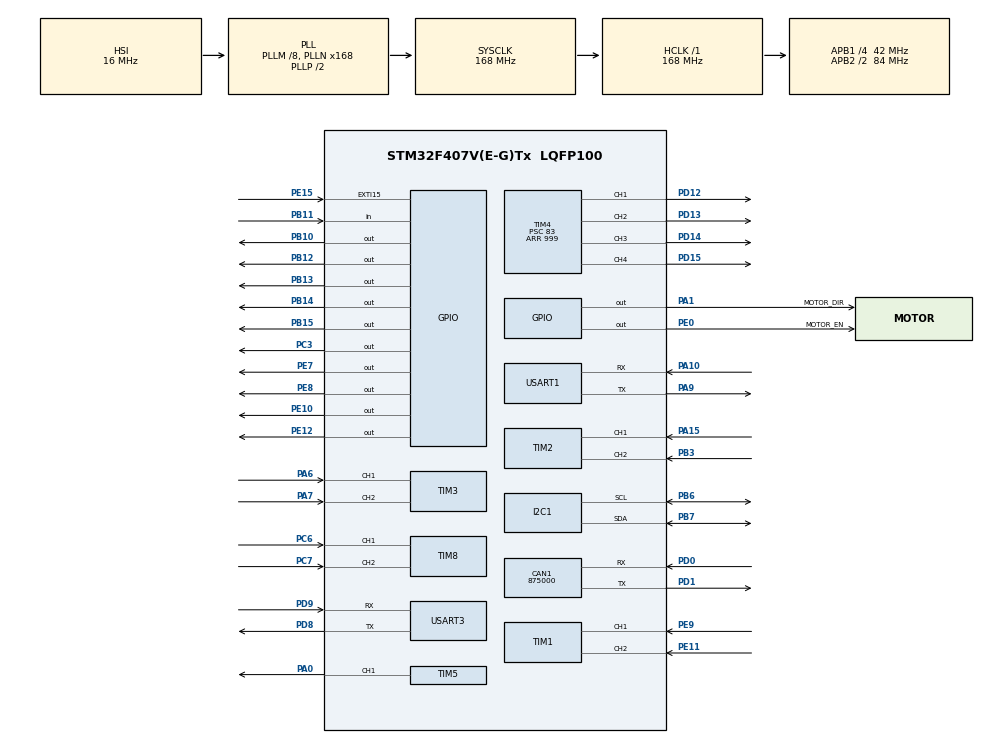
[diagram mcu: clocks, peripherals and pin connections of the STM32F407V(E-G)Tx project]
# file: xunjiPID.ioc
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CAN1.CalculateBaudRate=875000
CAN1.CalculateTimeBit=1142
CAN1.CalculateTimeQuantum=380.95238095238096
Dma.Request0=USART3_RX
Dma.USART3_RX.0.Direction=DMA_PERIPH_TO_MEMORY
Dma.USART3_RX.0.FIFOMode=DMA_FIFOMODE_DISABLE
Dma.USART3_RX.0.Instance=DMA1_Stream1
Dma.USART3_RX.0.MemDataAlignment=DMA_MDATAALIGN_BYTE
Dma.USART3_RX.0.MemInc=DMA_MINC_ENABLE
Dma.USART3_RX.0.Mode=DMA_CIRCULAR
Dma.USART3_RX.0.PeriphDataAlignment=DMA_PDATAALIGN_BYTE
Dma.USART3_RX.0.PeriphInc=DMA_PINC_DISABLE
Dma.USART3_RX.0.Priority=DMA_PRIORITY_LOW
Mcu.Family=STM32F4
Mcu.Name=STM32F407V(E-G)Tx
Mcu.Package=LQFP100
NVIC.DMA1_Stream1_IRQn=true\:0\:0\:false\:false\:true\:false\:true\:true
NVIC.EXTI15_10_IRQn=true\:3\:0\:true\:false\:true\:true\:true\:true
NVIC.PriorityGroup=NVIC_PRIORITYGROUP_4
NVIC.TIM6_DAC_IRQn=true\:0\:0\:false\:false\:true\:true\:true\:true
NVIC.USART3_IRQn=true\:1\:0\:true\:false\:true\:true\:true\:true
PA0-WKUP.Signal=S_TIM5_CH1
PA1.GPIO_Label=MOTOR_DIR
PA1.Signal=GPIO_Output
PA10.Mode=Asynchronous
PA10.Signal=USART1_RX
PA13.Mode=Serial_Wire
PA13.Signal=SYS_JTMS-SWDIO
PA14.Mode=Serial_Wire
PA14.Signal=SYS_JTCK-SWCLK
PA15.GPIO_PuPd=GPIO_NOPULL
PA15.Signal=S_TIM2_CH1_ETR
PA6.Signal=S_TIM3_CH1
PA7.Signal=S_TIM3_CH2
PA9.Mode=Asynchronous
PA9.Signal=USART1_TX
PB10.Signal=GPIO_Output
PB11.Signal=GPIO_Input
PB12.Signal=GPIO_Output
PB13.Signal=GPIO_Output
PB14.Signal=GPIO_Output
PB15.Signal=GPIO_Output
PB3.GPIO_PuPd=GPIO_NOPULL
PB3.Signal=S_TIM2_CH2
PB6.Mode=I2C
PB6.Signal=I2C1_SCL
PB7.Mode=I2C
PB7.Signal=I2C1_SDA
PC3.Signal=GPIO_Output
PC6.Signal=S_TIM8_CH1
PC7.Signal=S_TIM8_CH2
PD0.Mode=CAN_Activate
PD0.Signal=CAN1_RX
PD1.Mode=CAN_Activate
PD1.Signal=CAN1_TX
PD12.Signal=S_TIM4_CH1
PD13.Signal=S_TIM4_CH2
PD14.Signal=S_TIM4_CH3
PD15.Signal=S_TIM4_CH4
PD8.Mode=Asynchronous
PD8.Signal=USART3_TX
PD9.Mode=Asynchronous
PD9.Signal=USART3_RX
PE0.GPIO_Label=MOTOR_EN
PE0.Signal=GPIO_Output
PE10.Signal=GPIO_Output
PE11.Signal=S_TIM1_CH2
PE12.Signal=GPIO_Output
PE15.GPIO_ModeDefaultEXTI=GPIO_MODE_IT_RISING_FALLING
PE15.Signal=GPXTI15
PE7.Signal=GPIO_Output
PE8.Signal=GPIO_Output
PE9.Signal=S_TIM1_CH1
PH0-OSC_IN.Mode=HSE-External-Oscillator
PH0-OSC_IN.Signal=RCC_OSC_IN
PH1-OSC_OUT.Mode=HSE-External-Oscillator
PH1-OSC_OUT.Signal=RCC_OSC_OUT
ProjectManager.HeapSize=0x200
ProjectManager.StackSize=0x400
ProjectManager.TargetToolchain=MDK-ARM V5.32
RCC.48MHZClocksFreq_Value=84000000
RCC.AHBFreq_Value=168000000
RCC.APB1CLKDivider=RCC_HCLK_DIV4
RCC.APB1Freq_Value=42000000
RCC.APB1TimFreq_Value=84000000
RCC.APB2CLKDivider=RCC_HCLK_DIV2
RCC.APB2Freq_Value=84000000
RCC.APB2TimFreq_Value=168000000
RCC.CortexFreq_Value=168000000
RCC.HCLKFreq_Value=168000000
RCC.HSE_VALUE=25000000
RCC.HSI_VALUE=16000000
RCC.LSE_VALUE=32768
RCC.PLLM=8
RCC.PLLN=168
RCC.SYSCLKFreq_VALUE=168000000
RCC.SYSCLKSource=RCC_SYSCLKSOURCE_PLLCLK
RCC.VCOOutputFreq_Value=336000000
SH.S_TIM1_CH1.0=TIM1_CH1,Encoder_Interface
SH.S_TIM1_CH2.0=TIM1_CH2,Encoder_Interface
SH.S_TIM2_CH1_ETR.0=TIM2_CH1,Encoder_Interface
SH.S_TIM2_CH2.0=TIM2_CH2,Encoder_Interface
SH.S_TIM3_CH1.0=TIM3_CH1,Encoder_Interface
SH.S_TIM3_CH2.0=TIM3_CH2,Encoder_Interface
SH.S_TIM4_CH1.0=TIM4_CH1,PWM Generation1 CH1
SH.S_TIM4_CH2.0=TIM4_CH2,PWM Generation2 CH2
SH.S_TIM4_CH3.0=TIM4_CH3,PWM Generation3 CH3
SH.S_TIM4_CH4.0=TIM4_CH4,PWM Generation4 CH4
SH.S_TIM5_CH1.0=TIM5_CH1,PWM Generation1 CH1
SH.S_TIM8_CH1.0=TIM8_CH1,Encoder_Interface
SH.S_TIM8_CH2.0=TIM8_CH2,Encoder_Interface
TIM1.EncoderMode=TIM_ENCODERMODE_TI12
TIM2.EncoderMode=TIM_ENCODERMODE_TI12
TIM3.EncoderMode=TIM_ENCODERMODE_TI12
TIM4.Channel-PWM\ Generation1\ CH1=TIM_CHANNEL_1
TIM4.Channel-PWM\ Generation2\ CH2=TIM_CHANNEL_2
TIM4.Channel-PWM\ Generation3\ CH3=TIM_CHANNEL_3
TIM4.Channel-PWM\ Generation4\ CH4=TIM_CHANNEL_4
TIM4.Period=999
TIM4.Prescaler=83
TIM5.Channel-PWM\ Generation1\ CH1=TIM_CHANNEL_1
TIM5.Period=999
TIM5.Prescaler=83
TIM6.Period=9999
TIM6.Prescaler=83
TIM7.Prescaler=83
TIM8.EncoderMode=TIM_ENCODERMODE_TI12
USART1.VirtualMode=VM_ASYNC
USART3.VirtualMode=VM_ASYNC
VP_TIM5_VS_ClockSourceINT.Mode=Internal
VP_TIM6_VS_ClockSourceINT.Mode=Enable_Timer
VP_TIM7_VS_ClockSourceINT.Mode=Enable_Timer
board=custom

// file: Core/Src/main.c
/* USER CODE BEGIN Header */
/**
  ******************************************************************************
  * @file           : main.c
  * @brief          : Main program body
  ******************************************************************************
  * @attention
  *
  * Copyright (c) 2026 STMicroelectronics.
  * All rights reserved.
  *
  * This software is licensed under terms that can be found in the LICENSE file
  * in the root directory of this software component.
  * If no LICENSE file comes with this software, it is provided AS-IS.
  *
  ******************************************************************************
  */
/* USER CODE END Header */
#include "main.h"
#include "can.h"
#include "dma.h"
#include "i2c.h"
#include "tim.h"
#include "usart.h"
#include "gpio.h"

/* USER CODE BEGIN Includes */
#include <stdio.h>
#include "gw_gray.h"
#include "motor.h"
#include "track.h"
#include "pid_control.h"
#include "mpu6050.h"
#include "imu_module.h"
#include "hc_sr04.h"
#include "Gimbal_API.h"
/* USER CODE END Includes */

/* USER CODE BEGIN PV */
extern volatile uint8_t echo_state;
uint8_t imu_rx_buffer[50];
/* USER CODE END PV */

void SystemClock_Config(void);

/* USER CODE BEGIN 0 */
// 开启 printf 串口打印
#ifdef __GNUC__
#define PUTCHAR_PROTOTYPE int __io_putchar(int ch)
#else
#define PUTCHAR_PROTOTYPE int fputc(int ch, FILE *f)
#endif
PUTCHAR_PROTOTYPE
{
    HAL_UART_Transmit(&huart1, (uint8_t *)&ch, 1, HAL_MAX_DELAY);
    return ch;
}
/* USER CODE END 0 */

int main(void)
{

  /* MCU Configuration--------------------------------------------------------*/

  /* Reset of all peripherals, Initializes the Flash interface and the Systick. */
  HAL_Init();

  /* Configure the system clock */
  SystemClock_Config();

  /* Initialize all configured peripherals */
  MX_GPIO_Init();
  MX_DMA_Init();
  MX_TIM1_Init();
  MX_TIM3_Init();
  MX_TIM4_Init();
  MX_TIM6_Init();
  MX_TIM8_Init();
  MX_USART1_UART_Init();
  MX_TIM2_Init();
  MX_I2C1_Init();
  MX_TIM7_Init();
  MX_USART3_UART_Init();
  MX_TIM5_Init();
  MX_CAN1_Init();
  /* USER CODE BEGIN 2 */
  HAL_TIM_Base_Start(&htim7); // <=== 启动TIM7(注意：不带_IT，它只做计数，不产生中断)
Motor_Init(); // 里面包含开启 4路PWM 和 4路Encoder定时器
PID_Init();
Gimbal_Init();

#if USE_SERIAL_IMU
    // 启动新模块的串口接收中断
    __HAL_UART_ENABLE_IT(&huart3, UART_IT_IDLE);
    HAL_UART_Receive_DMA(&huart3, imu_rx_buffer, 50);
    printf("--- 系统启动：当前使用 新版串口IMU (USART3) ---\r\n");
#else
    // 只有开关为 0 时，才去初始化 I2C 和老陀螺仪
    printf("请保持小车静止，正在校准陀螺仪...\r\n");
    MPU6050_Init();
    MPU6050_Calibrate(); // 耗时约 1 秒，期间绝不能碰小车！
    printf("校准完成！\r\n");
#endif
  // 必须在校准完成后，再启动定时器中断！
  HAL_TIM_Base_Start_IT(&htim6);
  // ====================================================
  // 利用超声波当虚拟按键 (开机 2 秒窗口期)
  // ====================================================
  printf("【请选择模式】2秒内，用手挡住超声波(<10cm)为打靶题，不挡为循迹题...\r\n");

  // 循环检测 20 次，每次 100ms，总共 2 秒
  for(int i = 0; i < 20; i++) {
      HC_SR04_Start_Measure(); // 触发一次超声波
      HAL_Delay(20);           // 等待声波飞个来回

      float boot_dist = 0;
      if (HC_SR04_Read_Distance(&boot_dist) == 1) {
          // 如果开机时发现眼前 10cm 内有东西挡着 (也就是你的手)
          if (boot_dist > 0.1f && boot_dist < 10.0f) {
              Task_Mode = MODE_RECOGNITION; // 切换为打靶题！
              break; // 检测到就立刻退出循环
          }
      }
      HAL_Delay(80); // 凑够 100ms
  }

  // 打印最终确定的模式，并发出蜂鸣器提示音(如果有的话)
  if (Task_Mode == MODE_RECOGNITION) {
      printf(">>> 锁定模式：打靶识别题 (避障已禁用) <<<\r\n");
  } else {
      printf(">>> 锁定模式：纯循迹题 (避障已开启) <<<\r\n");
  }
  /* USER CODE END 2 */

  /* Infinite loop */
  /* USER CODE BEGIN WHILE */

  // 避障防抖计数器
  static uint8_t obstacle_count = 0;
  while (1)
  {

	 // 1. 只有在【纯循迹题】模式下，才进行超声波避障检测
      if (Task_Mode == MODE_TRACKING)
      {
          HC_SR04_Start_Measure();
          float dist = 0;
          if (HC_SR04_Read_Distance(&dist) == 1) {
              // printf("超声波距离: %.2f cm\r\n", dist);

              if (dist > 0.0f && dist < 15.0f) {
                  obstacle_count++;
                  if (obstacle_count >= 3) {
                      printf("触发避障！执行动作组！\r\n");
                      Execute_Obstacle_Bypass();
                      obstacle_count = 0;
                  }
              } else {
                  obstacle_count = 0;
              }
          }
      }

      // 2. 没被避障接管时，正常运行状态机巡线
      if (obstacle_count == 0) {
          Track_Line();
      }

      HAL_Delay(10);
	  // 1. 强制给所有电机一个正向的固定 PWM (开环)
      // 如果车轮是往后转的，说明你的电机线接反了，或者 IN1/IN2 逻辑反了
      //Set_Motor_PWM(300, 300, 300, 300);

      // 2. 读取四个编码器的原始累加值 (强转为 short 自动处理正负)
      //short enc_A = (short)__HAL_TIM_GET_COUNTER(&htim2);
      //short enc_B = (short)__HAL_TIM_GET_COUNTER(&htim3);
      //short enc_C = (short)__HAL_TIM_GET_COUNTER(&htim8);
      //short enc_D = (short)__HAL_TIM_GET_COUNTER(&htim1);

      // 3. 打印出来看结果
      //printf("PWM=正向 | 编码器脉冲 -> A(右前):%6d  B(右后):%6d  C(左后):%6d  D(左前):%6d\r\n",
           // enc_A, enc_B, enc_C, enc_D);

      // 清零计数器，模仿 TIM6 的 10ms 周期读取
    //  __HAL_TIM_SET_COUNTER(&htim2, 0);
      //__HAL_TIM_SET_COUNTER(&htim3, 0);
     // __HAL_TIM_SET_COUNTER(&htim8, 0);
     // __HAL_TIM_SET_COUNTER(&htim1, 0);

     // HAL_Delay(50); // 延时 50ms，防止串口打印太快卡死
	 // 2. 获取当前的偏航角
      //float my_yaw = Get_MPU6050_Yaw();

      // 3. 通过串口打印出来 (%.2f 表示保留两位小数)
     // printf("当前偏航角 Yaw: %.2f 度\r\n", my_yaw);

      // 4. 加一点延时，防止串口打印太快导致电脑卡死
     // HAL_Delay(50);
    /* USER CODE END WHILE */

  }
}

void SystemClock_Config(void)
{
  RCC_OscInitTypeDef RCC_OscInitStruct = {0};
  RCC_ClkInitTypeDef RCC_ClkInitStruct = {0};

  /** Configure the main internal regulator output voltage
  */
  __HAL_RCC_PWR_CLK_ENABLE();
  __HAL_PWR_VOLTAGESCALING_CONFIG(PWR_REGULATOR_VOLTAGE_SCALE1);

  /** Initializes the RCC Oscillators according to the specified parameters
  * in the RCC_OscInitTypeDef structure.
  */
  RCC_OscInitStruct.OscillatorType = RCC_OSCILLATORTYPE_HSI;
  RCC_OscInitStruct.HSIState = RCC_HSI_ON;
  RCC_OscInitStruct.HSICalibrationValue = RCC_HSICALIBRATION_DEFAULT;
  RCC_OscInitStruct.PLL.PLLState = RCC_PLL_ON;
  RCC_OscInitStruct.PLL.PLLSource = RCC_PLLSOURCE_HSI;
  RCC_OscInitStruct.PLL.PLLM = 8;
  RCC_OscInitStruct.PLL.PLLN = 168;
  RCC_OscInitStruct.PLL.PLLP = RCC_PLLP_DIV2;
  RCC_OscInitStruct.PLL.PLLQ = 4;
  if (HAL_RCC_OscConfig(&RCC_OscInitStruct) != HAL_OK)
  {
    Error_Handler();
  }

  /** Initializes the CPU, AHB and APB buses clocks
  */
  RCC_ClkInitStruct.ClockType = RCC_CLOCKTYPE_HCLK|RCC_CLOCKTYPE_SYSCLK
                              |RCC_CLOCKTYPE_PCLK1|RCC_CLOCKTYPE_PCLK2;
  RCC_ClkInitStruct.SYSCLKSource = RCC_SYSCLKSOURCE_PLLCLK;
  RCC_ClkInitStruct.AHBCLKDivider = RCC_SYSCLK_DIV1;
  RCC_ClkInitStruct.APB1CLKDivider = RCC_HCLK_DIV4;
  RCC_ClkInitStruct.APB2CLKDivider = RCC_HCLK_DIV2;

  if (HAL_RCC_ClockConfig(&RCC_ClkInitStruct, FLASH_LATENCY_5) != HAL_OK)
  {
    Error_Handler();
  }
}

/* USER CODE BEGIN 4 */
// 所有的引脚外部中断，都会汇聚到这个 HAL 库内置的回调函数里
void HAL_GPIO_EXTI_Callback(uint16_t GPIO_Pin)
{
    // 把中断信号扔给超声波的处理函数
    HC_SR04_EXTI_Callback(GPIO_Pin);
}

void HAL_TIM_PeriodElapsedCallback(TIM_HandleTypeDef *htim)
{
    // 如果是 TIM6 触发的中断 (10ms触发一次)
    if (htim->Instance == TIM6) {
		// 10ms = 0.01 秒，更新陀螺仪角度
        MPU6050_Update_Yaw(0.01f);
        Motor_Calc_PID_10ms();
    }
}
/* USER CODE END 4 */

void Error_Handler(void)
{
  __disable_irq();
  while (1)
  {
  }
}
